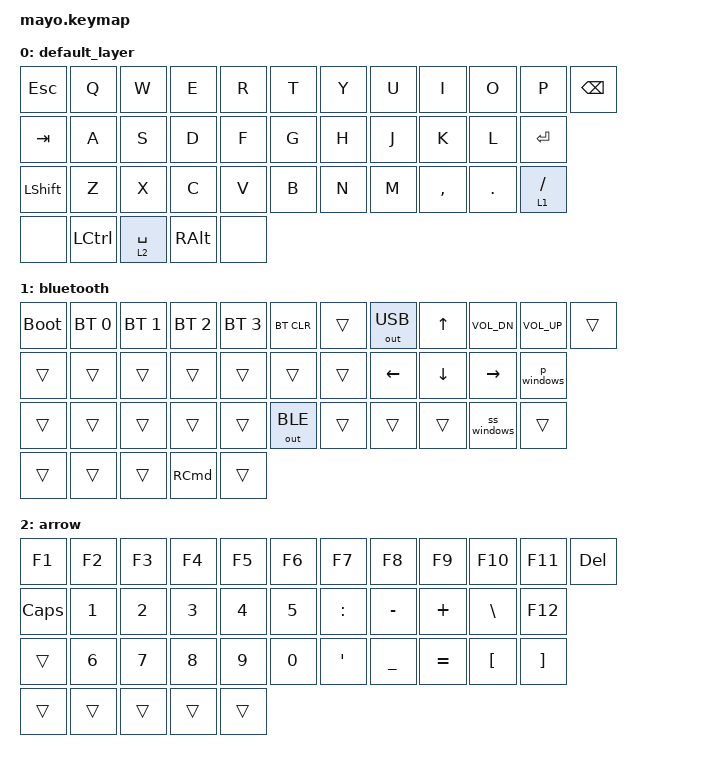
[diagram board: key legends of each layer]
/*
 * Copyright (c) 2021 Nick Winans
 *
 * SPDX-License-Identifier: MIT
 */

#include <behaviors.dtsi>
#include <dt-bindings/zmk/bt.h>
#include <dt-bindings/zmk/keys.h>
#include <dt-bindings/zmk/outputs.h>

/ {
    macros {
        ss_mac: ss_mac {
            compatible = "zmk,behavior-macro";
            label = "SS_MAC";
            #binding-cells = <0>;
            bindings =
                <&macro_press>,
                <&kp LEFT_GUI>,
                <&macro_press>,
                <&kp LEFT_SHIFT>,
                <&macro_tap>,
                <&kp NUMBER_4>,
                <&macro_release>,
                <&kp LEFT_SHIFT>,
                <&macro_release>,
                <&kp LEFT_GUI>;
        };

        ss_windows: ss_windows {
            compatible = "zmk,behavior-macro";
            #binding-cells = <0>;
            bindings =
                <&macro_press>,
                <&kp LEFT_GUI>,
                <&macro_press>,
                <&kp LEFT_SHIFT>,
                <&macro_press>,
                <&kp S>,
                <&macro_release>,
                <&kp LEFT_GUI>,
                <&macro_release>,
                <&kp LEFT_SHIFT>,
                <&macro_release>,
                <&kp S>;

            label = "SS_WINDOWS";
        };

        p_windows: p_windows {
            compatible = "zmk,behavior-macro";
            #binding-cells = <0>;
            bindings = <&kp NUMBER_1 &kp NUMBER_4 &kp N0 &kp NUMBER_1 &kp NUMBER_9 &kp NUMBER_7>;
            label = "P_WINDOWS";
        };
    };

    keymap {
        compatible = "zmk,keymap";

        default_layer {
            bindings = <
&kp ESCAPE  &kp Q             &kp W        &kp E          &kp R  &kp T  &kp Y  &kp U  &kp I      &kp O    &kp P        &kp BACKSPACE
&kp TAB     &kp A             &kp S        &kp D          &kp F  &kp G  &kp H  &kp J  &kp K      &kp L    &kp RET
&kp LSHFT   &kp Z             &kp X        &kp C          &kp V  &kp B  &kp N  &kp M  &kp COMMA  &kp DOT  &lt 1 SLASH
&none       &kp LEFT_CONTROL  &lt 2 SPACE  &kp RIGHT_ALT  &none
            >;
        };

        bluetooth {
            bindings = <
&bootloader  &bt BT_SEL 0  &bt BT_SEL 1  &bt BT_SEL 2       &bt BT_SEL 3  &bt BT_CLR    &trans  &out OUT_USB  &kp UP_ARROW  &kp C_VOL_DN  &kp C_VOLUME_UP  &trans
&trans       &trans        &trans        &trans             &trans        &trans        &trans  &kp LEFT      &kp DOWN      &kp RIGHT     &p_windows
&trans       &trans        &trans        &trans             &trans        &out OUT_BLE  &trans  &trans        &trans        &ss_windows   &trans
&trans       &trans        &trans        &kp RIGHT_COMMAND  &trans
            >;
        };

        arrow {
            bindings = <
&kp F1        &kp F2        &kp F3        &kp F4        &kp F5        &kp F6        &kp F7     &kp F8     &kp F9     &kp F10           &kp F11            &kp DEL
&kp CAPSLOCK  &kp NUMBER_1  &kp NUMBER_2  &kp NUMBER_3  &kp NUMBER_4  &kp NUMBER_5  &kp COLON  &kp MINUS  &kp PLUS   &kp BACKSLASH     &kp F12
&trans        &kp NUMBER_6  &kp NUMBER_7  &kp NUMBER_8  &kp NUMBER_9  &kp NUMBER_0  &kp APOS   &kp UNDER  &kp EQUAL  &kp LEFT_BRACKET  &kp RIGHT_BRACKET
&trans        &trans        &trans        &trans        &trans
            >;
        };
    };
};
